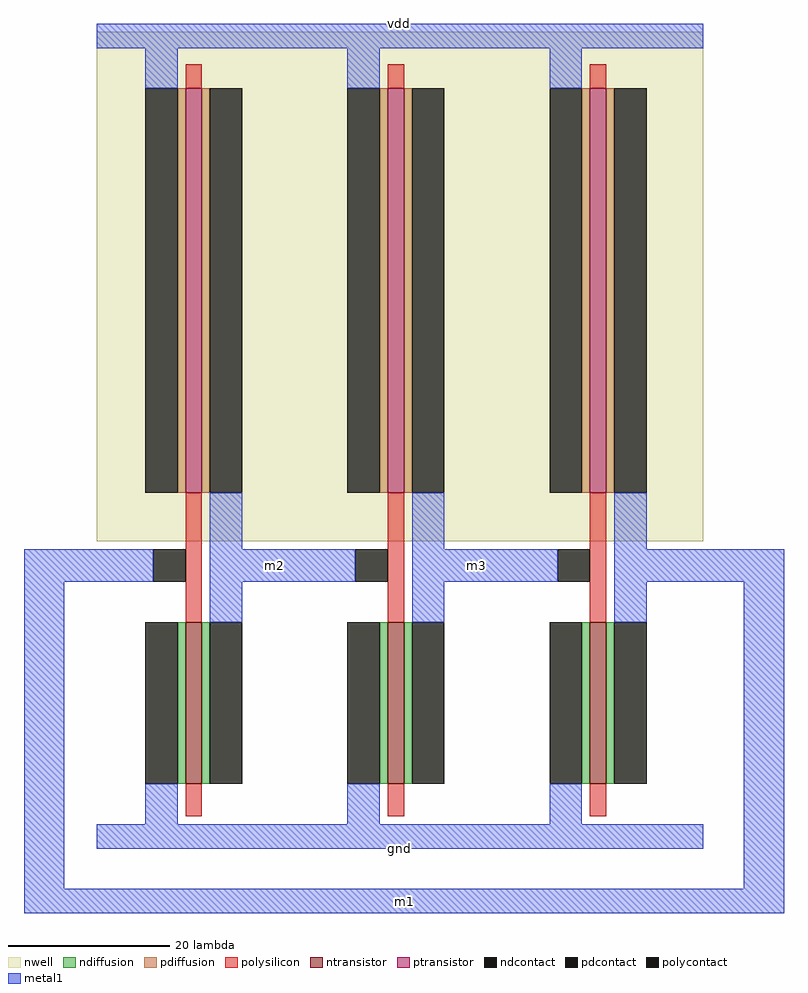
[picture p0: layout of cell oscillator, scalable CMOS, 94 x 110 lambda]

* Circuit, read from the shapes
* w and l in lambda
.subckt oscillator gnd m1 m2 m3 vdd
M1 m2 m1 gnd VSUBS nfet w=20 l=2
M2 m3 m2 gnd VSUBS nfet w=20 l=2
M3 m1 m3 gnd VSUBS nfet w=20 l=2
M4 m2 m1 vdd n1 pfet w=50 l=2
M5 m3 m2 vdd n1 pfet w=50 l=2
M6 m1 m3 vdd n1 pfet w=50 l=2
.ends

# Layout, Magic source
magic
tech scmos
<< metal1 >>
rect 0 99 75 102
rect -9 33 2 37
rect 14 33 30 37
rect 39 33 55 37
rect 75 33 85 37
rect -9 -5 -4 33
rect 0 0 75 3
rect 80 -5 85 33
rect -9 -8 85 -5
use inverter  inverter_0
array 0 2 25 0 0 101
transform 1 0 9 0 1 38
box -9 -38 16 64
<< labels >>
rlabel metal1 0 0 75 0 1 gnd
rlabel metal1 0 102 75 102 5 vdd
rlabel metal1 -9 -8 85 -5 1 m1
rlabel metal1 14 33 30 37 1 m2
rlabel metal1 39 33 55 37 1 m3
<< end >>

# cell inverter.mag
magic
tech scmos
<< nwell >>
rect -9 0 16 63
<< ntransistor >>
rect 2 -30 4 -10
<< ptransistor >>
rect 2 6 4 56
<< ndiffusion >>
rect 1 -30 2 -10
rect 4 -30 5 -10
<< pdiffusion >>
rect 1 6 2 56
rect 4 6 5 56
<< ndcontact >>
rect -3 -30 1 -10
rect 5 -30 9 -10
<< pdcontact >>
rect -3 6 1 56
rect 5 6 9 56
<< polysilicon >>
rect 2 56 4 59
rect 2 -10 4 6
rect 2 -34 4 -30
<< polycontact >>
rect -2 -5 2 -1
<< metal1 >>
rect -9 61 16 64
rect -3 56 1 61
rect 5 -1 9 6
rect -9 -5 -2 -1
rect 5 -5 16 -1
rect 5 -10 9 -5
rect -3 -35 1 -30
rect -9 -38 16 -35
<< labels >>
rlabel metal1 3 -37 3 -37 1 gnd
rlabel metal1 -6 -3 -6 -3 3 input
rlabel metal1 11 -3 11 -3 7 output
rlabel metal1 -1 63 -1 63 5 vdd
<< end >>
